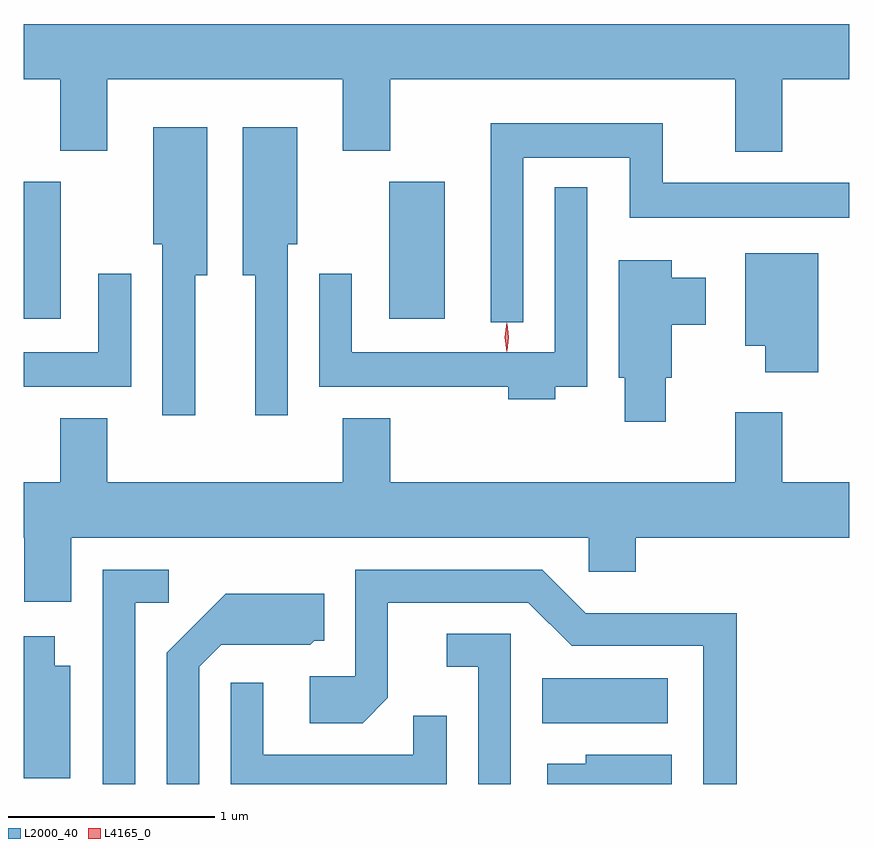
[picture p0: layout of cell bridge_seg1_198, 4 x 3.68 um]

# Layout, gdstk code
import gdstk
lib = gdstk.Library(unit=1e-6, precision=1e-09)
def R(c, l, rs):  # rectangles x0, y0, x1, y1
    for r in rs: c.add(gdstk.rectangle(r[:2], r[2:], *l))
def P(c, l, *ps):  # polygons
    for p in ps: c.add(gdstk.Polygon(p, *l))
L2000_40 = (2000, 40)
L4165_0 = (4165, 0)

bridge_seg1_198 = lib.new_cell('bridge_seg1_198')
R(bridge_seg1_198, L2000_40, [(798.016,929.756,798.624,929.974), (795.504,931.716,795.684,932.379), (797.276,931.716,797.544,932.379)])
P(bridge_seg1_198, L2000_40, [(799.179,932.876),(799.504,932.876),(799.504,933.144),(795.504,933.144),(795.504,932.876),(795.681,932.876),(795.681,932.531),(795.909,932.531),(795.909,932.876),(797.051,932.876),(797.051,932.531),(797.279,932.531),(797.279,932.876),(798.951,932.876),(798.951,932.526),(799.179,932.526)],
  [(797.924,932.496),(798.441,932.496),(798.441,932.206),(799.504,932.206),(799.504,932.374),(798.599,932.374),(798.599,932.664),(797.766,932.664),(797.766,931.698),(797.924,931.698)],
  [(796.334,931.926),(796.394,931.926),(796.394,932.644),(796.131,932.644),(796.131,932.076),(796.176,932.076),(796.176,931.248),(796.334,931.248)],
  [(796.784,932.076),(796.829,932.076),(796.829,932.644),(796.566,932.644),(796.566,931.926),(796.626,931.926),(796.626,931.248),(796.784,931.248)],
  [(798.079,931.386),(798.234,931.386),(798.234,932.353),(798.076,932.353),(798.076,931.554),(797.094,931.554),(797.094,931.933),(796.936,931.933),(796.936,931.386),(797.851,931.386),(797.851,931.326),(798.079,931.326)],
  [(799.354,932.034),(799.001,932.034),(799.001,931.586),(799.096,931.586),(799.096,931.456),(799.354,931.456)],
  [(798.614,931.431),(798.644,931.431),(798.644,931.686),(798.809,931.686),(798.809,931.914),(798.644,931.914),(798.644,931.999),(798.386,931.999),(798.386,931.431),(798.416,931.431),(798.416,931.216),(798.614,931.216)],
  [(796.024,931.933),(795.866,931.933),(795.866,931.554),(795.504,931.554),(795.504,931.386),(796.024,931.386)],
  [(795.734,930.656),(798.241,930.656),(798.241,930.491),(798.469,930.491),(798.469,930.656),(799.504,930.656),(799.504,930.924),(799.179,930.924),(799.179,931.264),(798.951,931.264),(798.951,930.924),(797.279,930.924),(797.279,931.234),(797.051,931.234),(797.051,930.924),(795.909,930.924),(795.909,931.234),(795.681,931.234),(795.681,930.924),(795.504,930.924),(795.504,930.656),(795.506,930.656),(795.506,930.346),(795.734,930.346)],
  [(798.959,930.289),(798.227,930.289),(798.017,930.499),(797.111,930.499),(797.111,929.984),(796.891,929.984),(796.891,929.756),(797.147,929.756),(797.269,929.879),(797.269,930.341),(797.949,930.341),(798.159,930.131),(798.796,930.131),(798.796,929.462),(798.959,929.462)],
  [(796.044,930.341),(796.208,930.341),(796.208,930.499),(795.886,930.499),(795.886,929.462),(796.044,929.462)],
  [(796.354,930.029),(796.462,930.136),(796.892,930.136),(796.912,930.156),(796.959,930.156),(796.959,930.384),(796.484,930.384),(796.196,930.097),(796.196,929.462),(796.354,929.462)],
  [(797.864,930.189),(797.553,930.189),(797.553,930.031),(797.706,930.031),(797.706,929.462),(797.864,929.462)],
  [(795.729,930.034),(795.654,930.034),(795.654,930.179),(795.504,930.179),(795.504,929.491),(795.729,929.491)],
  [(797.554,929.793),(797.391,929.793),(797.391,929.604),(796.664,929.604),(796.664,929.953),(796.506,929.953),(796.506,929.462),(797.554,929.462)],
  [(798.644,929.604),(798.226,929.604),(798.226,929.559),(798.041,929.559),(798.041,929.462),(798.644,929.462)])
P(bridge_seg1_198, L4165_0, [(797.845,931.56),(797.835,931.626),(797.845,931.692),(797.845,931.693),(797.846,931.692),(797.855,931.626),(797.846,931.56),(797.846,931.56)],
  [(797.844,931.557),(797.835,931.626),(797.844,931.696),(797.845,931.696),(797.845,931.696),(797.855,931.626),(797.845,931.557),(797.845,931.557)])

lib.write_gds('bridge_seg1_198.gds')
